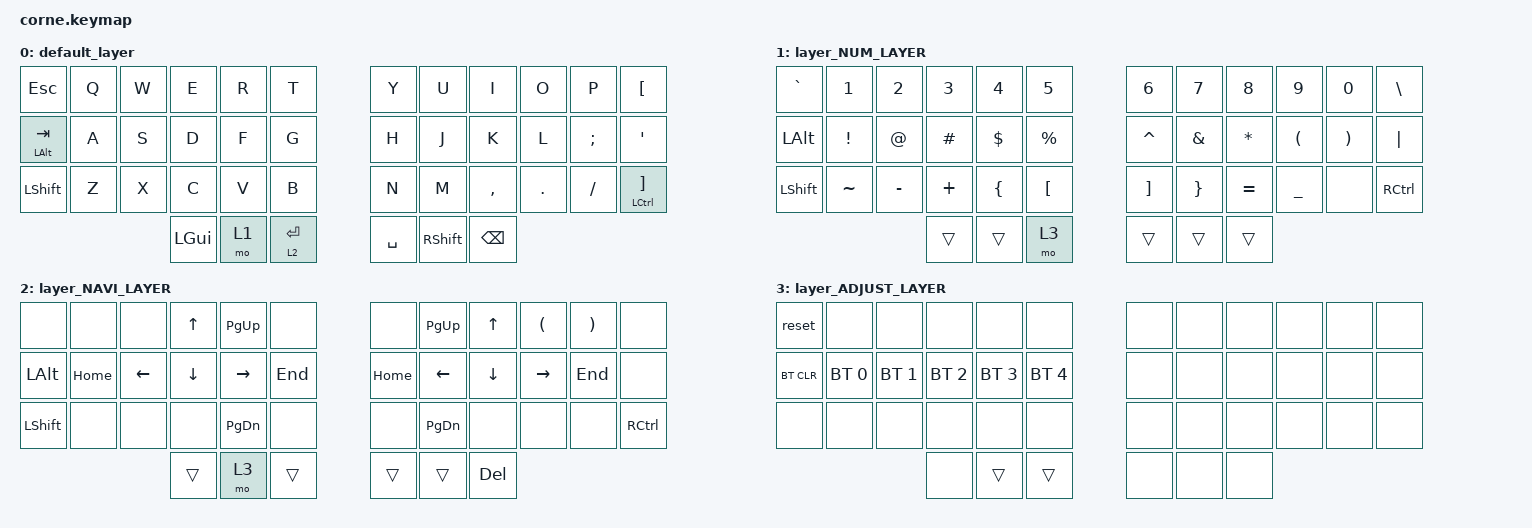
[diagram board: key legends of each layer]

/*
 * Copyright (c) 2020 The ZMK Contributors
 *
 * SPDX-License-Identifier: MIT
 */


/* THIS FILE WAS GENERATED!
 *
 * This file was generated automatically. You may or may not want to
 * edit it directly.
 */

#include <behaviors.dtsi>
#include <dt-bindings/zmk/keys.h>
#include <dt-bindings/zmk/bt.h>

/ {
    keymap {
        compatible = "zmk,keymap";


        default_layer {
            bindings = <
      &kp ESC   &kp Q   &kp W     &kp E   &kp R        &kp T              &kp Y      &kp U          &kp I    &kp O     &kp P         &kp LEFT_BRACKET
 &mt LALT TAB   &kp A   &kp S     &kp D   &kp F        &kp G              &kp H      &kp J          &kp K    &kp L  &kp SEMI                 &kp APOS
    &kp LSHFT   &kp Z   &kp X     &kp C   &kp V        &kp B              &kp N      &kp M      &kp COMMA  &kp DOT  &kp FSLH  &mt LCTRL RIGHT_BRACKET
                               &kp LGUI   &mo 1  &lt 2 ENTER          &kp SPACE  &kp RSHFT  &kp BACKSPACE
            >;
        };

        layer_NUM_LAYER {
            bindings = <
      &kp GRAVE           &kp N1       &kp N2    &kp N3          &kp N4            &kp N5                     &kp N6           &kp N7        &kp N8                &kp N9                 &kp N0      &kp BACKSLASH
   &kp LEFT_ALT  &kp EXCLAMATION  &kp AT_SIGN  &kp HASH      &kp DOLLAR       &kp PERCENT                  &kp CARET    &kp AMPERSAND  &kp ASTERISK  &kp LEFT_PARENTHESIS  &kp RIGHT_PARENTHESIS           &kp PIPE
 &kp LEFT_SHIFT        &kp TILDE    &kp MINUS  &kp PLUS  &kp LEFT_BRACE  &kp LEFT_BRACKET          &kp RIGHT_BRACKET  &kp RIGHT_BRACE     &kp EQUAL        &kp UNDERSCORE                  &none  &kp RIGHT_CONTROL
                                                 &trans          &trans             &mo 3                     &trans           &trans        &trans
            >;
        };

        layer_NAVI_LAYER {
            bindings = <
          &none     &none     &none    &kp UP    &kp PAGE_UP    &none             &none    &kp PAGE_UP    &kp UP   &kp LPAR  &kp RPAR              &none
   &kp LEFT_ALT  &kp HOME  &kp LEFT  &kp DOWN      &kp RIGHT  &kp END          &kp HOME       &kp LEFT  &kp DOWN  &kp RIGHT   &kp END              &none
 &kp LEFT_SHIFT     &none     &none     &none  &kp PAGE_DOWN    &none             &none  &kp PAGE_DOWN     &none      &none     &none  &kp RIGHT_CONTROL
                                       &trans          &mo 3   &trans            &trans         &trans   &kp DEL
            >;
        };

        layer_ADJUST_LAYER {
            bindings = <
     &reset         &none         &none         &none         &none         &none           &none   &none   &none   &none   &none   &none
 &bt BT_CLR  &bt BT_SEL 0  &bt BT_SEL 1  &bt BT_SEL 2  &bt BT_SEL 3  &bt BT_SEL 4           &none   &none   &none   &none   &none   &none
      &none         &none         &none         &none         &none         &none           &none   &none   &none   &none   &none   &none
                                                &none        &trans        &trans           &none   &none   &none
            >;
        };

    };
};
